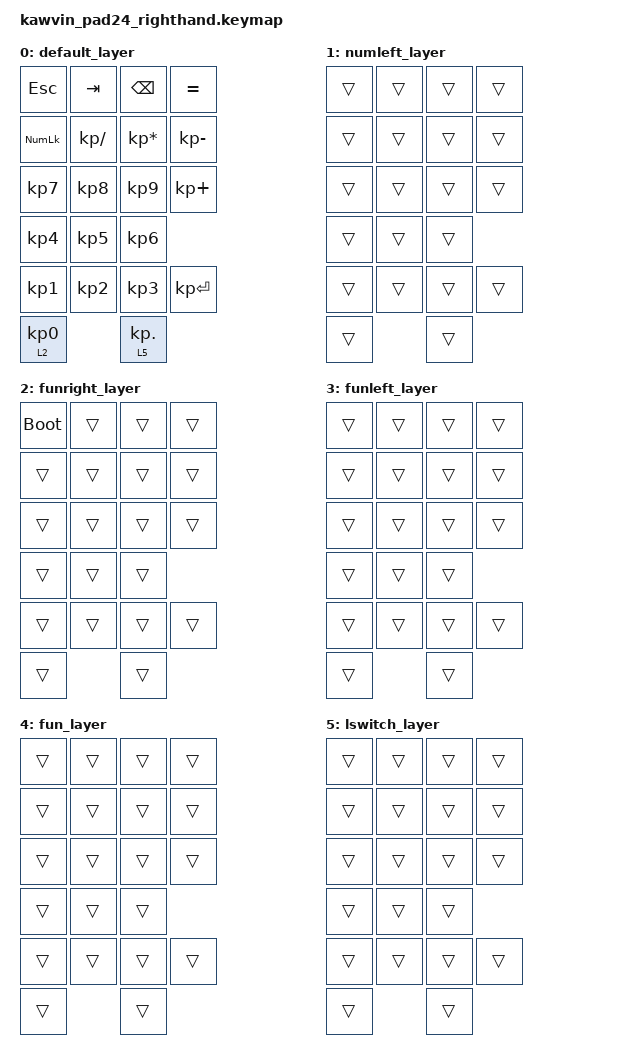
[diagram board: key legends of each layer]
/*
 * Copyright (c) 2021 The ZMK Contributors
 *
 * SPDX-License-Identifier: MIT
 */

#include <behaviors.dtsi>
#include <dt-bindings/zmk/keys.h>
#include <dt-bindings/zmk/bt.h>

/*
&led_strip {
    chain-length = <24>;
    // chain-length = <35>; // Uncomment if using both per-key and underglow LEDs
    // chain-length = <29>; // Uncomment if using only per-key LEDs.
};
*/

#define DEFAULT 0
#define NUMLEFT 1
#define FUNRIGHT 2
#define FUNLEFT 3
#define FUN 4
#define LSWITCH 5

/ {
        keymap {
                compatible = "zmk,keymap";

                default_layer {
//  ---------------------------------------------------------------------------------
//  |ESC        |TAB  |BSPC        |EQUAL|
//  |NLCK       |SLASH|MULTIPLY    |MINUS|
//  |7          |8    |9           |PLUS |
//  |4          |5    |6           |     |
//  |1          |2    |3           |ENTER|
//  |&lt 2 KP_N0|     |&lt 5 KP_DOT|     |


                        bindings = <
&kp ESC      &kp TAB       &kp BSPC         &kp EQUAL     
&kp KP_NLCK  &kp KP_SLASH  &kp KP_MULTIPLY  &kp KP_MINUS  
&kp KP_N7    &kp KP_N8     &kp KP_N9        &kp KP_PLUS   
&kp KP_N4    &kp KP_N5     &kp KP_N6                      
&kp KP_N1    &kp KP_N2     &kp KP_N3        &kp KP_ENTER  
&lt 2 KP_N0                &lt 5 KP_DOT                   


                                >;
                        };

                numleft_layer {
//  ---------------------------------------------------------------------------------
//  |    |    |    |    |
//  |    |    |    |    |
//  |    |    |    |    |
//  |    |    |    |    |
//  |    |    |    |    |
//  |    |    |    |    |


                        bindings = <
&trans  &trans  &trans  &trans  
&trans  &trans  &trans  &trans  
&trans  &trans  &trans  &trans  
&trans  &trans  &trans          
&trans  &trans  &trans  &trans  
&trans          &trans          


                                >;
                        };

                funright_layer {
//  ---------------------------------------------------------------------------------
//  |&bootloader|    |    |    |
//  |           |    |    |    |
//  |           |    |    |    |
//  |           |    |    |    |
//  |           |    |    |    |
//  |           |    |    |    |


                        bindings = <
&bootloader  &trans  &trans  &trans  
&trans       &trans  &trans  &trans  
&trans       &trans  &trans  &trans  
&trans       &trans  &trans          
&trans       &trans  &trans  &trans  
&trans               &trans          


                                >;
                        };

                funleft_layer {
//  ---------------------------------------------------------------------------------
//  |    |    |    |    |
//  |    |    |    |    |
//  |    |    |    |    |
//  |    |    |    |    |
//  |    |    |    |    |
//  |    |    |    |    |

                        bindings = <
&trans  &trans  &trans  &trans  
&trans  &trans  &trans  &trans  
&trans  &trans  &trans  &trans  
&trans  &trans  &trans          
&trans  &trans  &trans  &trans  
&trans          &trans        

                                >;
                        };

                fun_layer {
//  ---------------------------------------------------------------------------------
//  |    |    |    |    |
//  |    |    |    |    |
//  |    |    |    |    |
//  |    |    |    |    |
//  |    |    |    |    |
//  |    |    |    |    |

                        bindings = <
&trans  &trans  &trans  &trans  
&trans  &trans  &trans  &trans  
&trans  &trans  &trans  &trans  
&trans  &trans  &trans          
&trans  &trans  &trans  &trans  
&trans          &trans        

                                >;
                        };
                
                lswitch_layer {
//  ---------------------------------------------------------------------------------
//  |    |    |    |    |
//  |    |    |    |    |
//  |    |    |    |    |
//  |    |    |    |    |
//  |    |    |    |    |
//  |    |    |    |    |

                        bindings = <
&trans  &trans  &trans  &trans  
&trans  &trans  &trans  &trans  
&trans  &trans  &trans  &trans  
&trans  &trans  &trans          
&trans  &trans  &trans  &trans  
&trans          &trans        
                                >;
                };
        };
};
